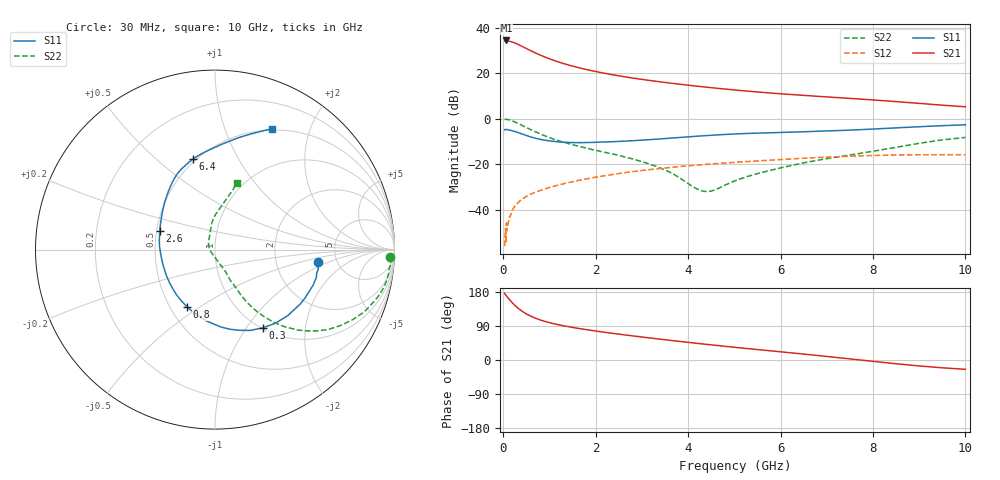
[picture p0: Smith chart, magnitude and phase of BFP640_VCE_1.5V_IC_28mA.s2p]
! Infineon Technologies  Discrete & RF Semiconductors
! BFP640
! VCE =  1.5 V,  IC =  28 mA
! Common Emitter S-Parameters:  Apr 2013
# GHz  S  MA  R  50
!  f  S11  S21  S12  S22
! GHz  MAG  ANG  MAG  ANG  MAG  ANG  MAG  ANG
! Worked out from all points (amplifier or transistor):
!   99 points, 30 MHz to 10 GHz, reference 50 ohm
!   highest |S21| = 34.5 dB at 70 MHz (marker M1)
!   |S21| within 3 dB of that: start of sweep to 447.6 MHz
!   unconditionally stable (mu >= 1): 2.25 GHz to end of sweep
!   at 350 MHz: K = 0.35, MSG = 34.3 dB, |S12| = -36.2 dB
!   at 3.5 GHz: K = 1.05, MAG = 17.4 dB, |S12| = -21.6 dB
!   at 10 GHz: K = 1.07, MAG = 8.9 dB, |S12| = -15.7 dB
!   S11 on the Smith chart (normalised r, x): 30 MHz: 3.59, -0.72; 300 MHz: 1.01, -1.19; 800 MHz: 0.61, -0.45; 2.6 GHz: 0.52, +0.12; 6.4 GHz: 0.48, +0.67; 10 GHz: 0.49, +1.46
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0.03  0.5786 -6.6  51.75 175.5  0.0016 101.6  0.9751 -2.4
0.07  0.5858 -15.6  52.99 169.3  0.0052 68.6  0.9771 -7.8
0.14  0.5656 -30.5  50.59 158.8  0.0072 80.9  0.945 -16.1
0.2  0.5474 -42.2  48.68 150.6  0.01 74.9  0.9019 -22.6
0.25  0.5305 -50.7  46.77 144.5  0.012 73.0  0.8585 -27.2
0.3  0.5103 -58.7  44.43 138.9  0.0137 70.7  0.8144 -31.4
0.4  0.4697 -73.2  39.73 129.4  0.0172 65.9  0.726 -38.6
0.5  0.4323 -85.7  35.26 121.7  0.0199 63.3  0.6473 -43.9
0.6  0.4007 -96.7  31.42 115.4  0.0224 62.1  0.5782 -48.0
0.7  0.3761 -106.4  28.08 110.2  0.0246 61.5  0.5194 -51.1
0.8  0.356 -115.7  25.29 105.7  0.0268 60.0  0.469 -53.5
1  0.3296 -131.1  20.96 98.6  0.0312 59.2  0.39 -57.0
1.2  0.3131 -144.1  17.8 92.9  0.0354 58.3  0.332 -59.1
1.7  0.3015 -169.0  12.86 82.0  0.0459 56.3  0.2409 -61.2
2.1  0.3101 176.6  10.5 74.8  0.0545 53.8  0.1937 -63.3
2.6  0.3241 161.7  8.522 66.7  0.065 50.6  0.1488 -64.4
3.4  0.3645 143.0  6.523 54.9  0.0816 44.0  0.0834 -72.1
5.1  0.4713 116.4  4.247 32.4  0.1127 29.3  0.0471 140.3
6.4  0.5185 103.6  3.346 16.9  0.135 18.0  0.103 105.1
6.7  0.5314 100.2  3.191 13.1  0.1399 15.1  0.1181 101.5
8.5  0.636 78.3  2.403 -9.9  0.1612 -3.2  0.2378 82.5
10  0.7428 64.9  1.847 -24.6  0.1639 -15.1  0.3924 71.9
